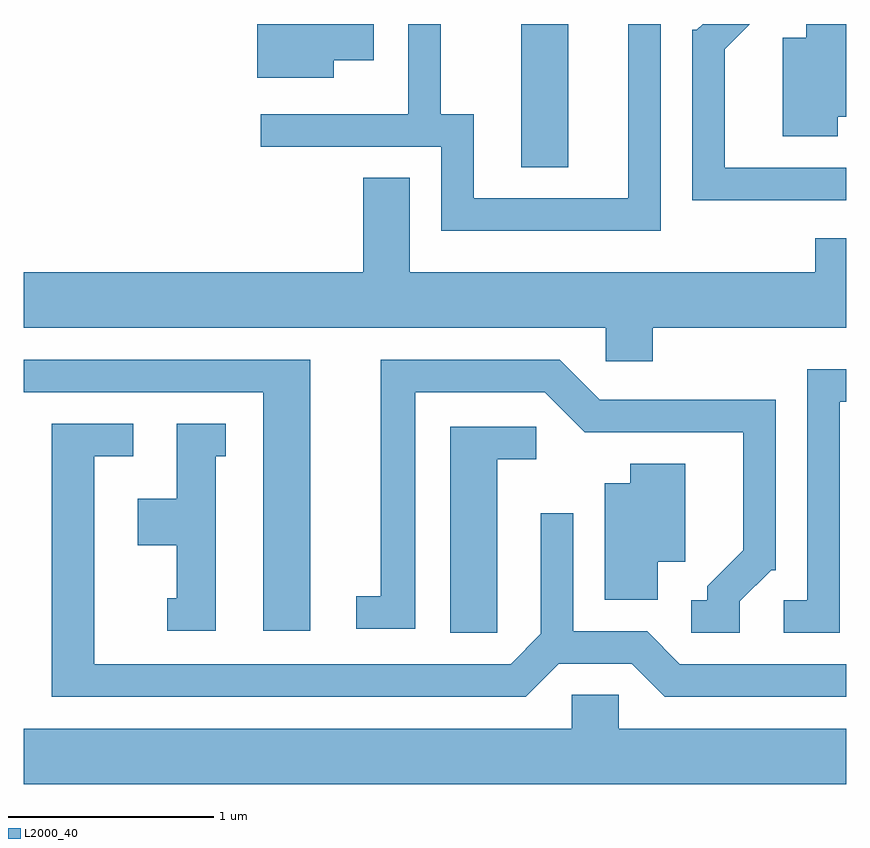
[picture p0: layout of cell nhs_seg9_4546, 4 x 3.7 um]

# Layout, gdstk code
import gdstk
lib = gdstk.Library(unit=1e-6, precision=1e-09)
def R(c, l, rs):  # rectangles x0, y0, x1, y1
    for r in rs: c.add(gdstk.rectangle(r[:2], r[2:], *l))
def P(c, l, *ps):  # polygons
    for p in ps: c.add(gdstk.Polygon(p, *l))
L2000_40 = (2000, 40)

nhs_seg9_4546 = lib.new_cell('nhs_seg9_4546')
R(nhs_seg9_4546, L2000_40, [(322.031,1963.736,322.259,1964.432)])
P(nhs_seg9_4546, L2000_40, [(322.709,1964.432),(322.551,1964.432),(322.551,1963.584),(321.799,1963.584),(321.799,1963.994),(321.639,1963.994),(321.639,1964.432),(321.481,1964.432),(321.481,1963.994),(320.763,1963.994),(320.763,1963.836),(321.641,1963.836),(321.641,1963.426),(322.709,1963.426)],
  [(323.611,1963.734),(323.019,1963.734),(323.019,1964.309),(323.142,1964.432),(322.912,1964.432),(322.884,1964.404),(322.861,1964.404),(322.861,1963.576),(323.611,1963.576)],
  [(321.119,1964.256),(321.314,1964.256),(321.314,1964.432),(320.746,1964.432),(320.746,1964.171),(321.119,1964.171)],
  [(323.569,1963.981),(323.611,1963.981),(323.611,1964.432),(323.416,1964.432),(323.416,1964.364),(323.301,1964.364),(323.301,1963.886),(323.569,1963.886)],
  [(322.669,1962.956),(323.611,1962.956),(323.611,1963.389),(323.461,1963.389),(323.461,1963.224),(321.489,1963.224),(321.489,1963.684),(321.261,1963.684),(321.261,1963.224),(319.611,1963.224),(319.611,1962.956),(322.441,1962.956),(322.441,1962.791),(322.669,1962.791)],
  [(323.094,1961.624),(323.247,1961.776),(323.269,1961.776),(323.269,1962.604),(322.412,1962.604),(322.217,1962.799),(321.346,1962.799),(321.346,1961.649),(321.228,1961.649),(321.228,1961.491),(321.514,1961.491),(321.514,1962.641),(322.144,1962.641),(322.339,1962.446),(323.111,1962.446),(323.111,1961.872),(322.936,1961.697),(322.936,1961.629),(322.858,1961.629),(322.858,1961.471),(323.094,1961.471)],
  [(321.004,1962.799),(319.611,1962.799),(319.611,1962.641),(320.776,1962.641),(320.776,1961.481),(321.004,1961.481)],
  [(323.579,1962.596),(323.611,1962.596),(323.611,1962.754),(323.421,1962.754),(323.421,1961.629),(323.308,1961.629),(323.308,1961.471),(323.579,1961.471)],
  [(320.544,1962.331),(320.593,1962.331),(320.593,1962.489),(320.356,1962.489),(320.356,1962.124),(320.166,1962.124),(320.166,1961.896),(320.356,1961.896),(320.356,1961.639),(320.308,1961.639),(320.308,1961.481),(320.544,1961.481)],
  [(322.212,1961.321),(322.569,1961.321),(322.729,1961.161),(323.611,1961.161),(323.611,1961.319),(322.802,1961.319),(322.642,1961.479),(322.284,1961.479),(322.284,1962.053),(322.126,1962.053),(322.126,1961.467),(321.979,1961.319),(319.954,1961.319),(319.954,1962.331),(320.143,1962.331),(320.143,1962.489),(319.746,1962.489),(319.746,1961.161),(322.052,1961.161)],
  [(321.914,1962.316),(322.103,1962.316),(322.103,1962.474),(321.686,1962.474),(321.686,1961.471),(321.914,1961.471)],
  [(322.694,1961.816),(322.829,1961.816),(322.829,1962.294),(322.561,1962.294),(322.561,1962.199),(322.436,1962.199),(322.436,1961.631),(322.694,1961.631)],
  [(323.611,1961.004),(322.504,1961.004),(322.504,1961.169),(322.276,1961.169),(322.276,1961.004),(319.611,1961.004),(319.611,1960.736),(323.611,1960.736)])

lib.write_gds('nhs_seg9_4546.gds')
